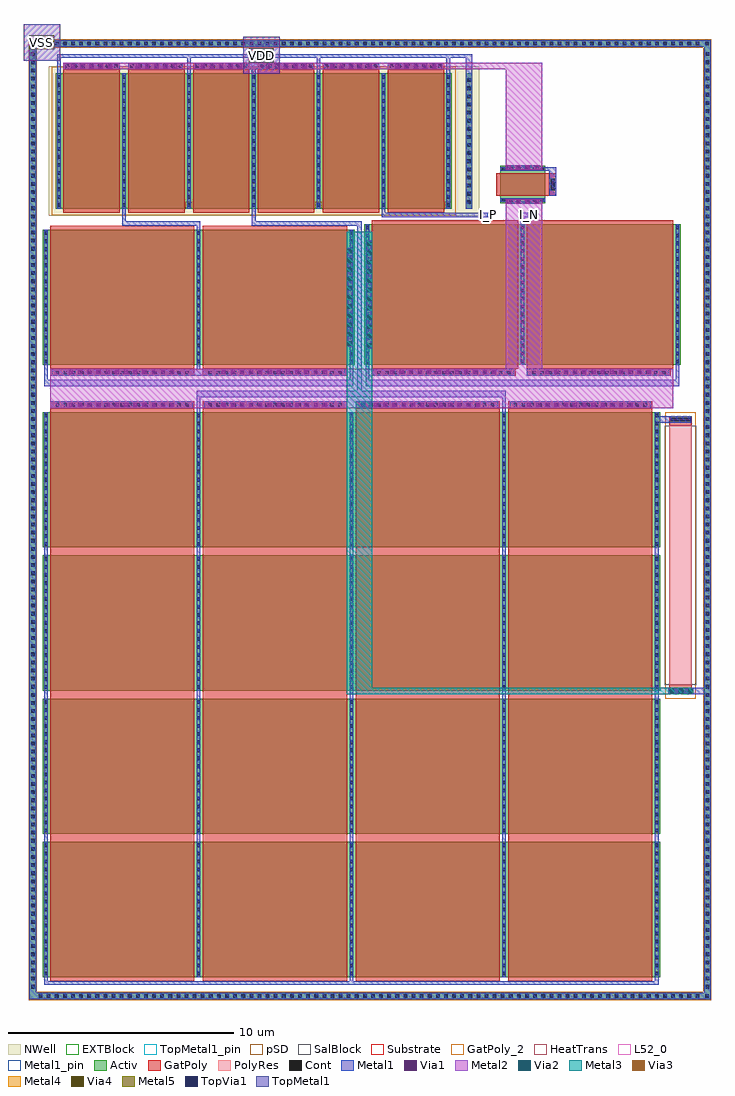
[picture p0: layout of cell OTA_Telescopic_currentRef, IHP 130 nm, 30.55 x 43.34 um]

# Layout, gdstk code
from math import pi, radians
import gdstk
lib = gdstk.Library(unit=1e-6, precision=1e-09)
def R(c, l, rs):  # rectangles x0, y0, x1, y1
    for r in rs: c.add(gdstk.rectangle(r[:2], r[2:], *l))
def A(c, l, x, y, w, h, nx, ny, dx, dy):  # array of equal rectangles
    R(c, l, [(x+i*dx, y+j*dy, x+i*dx+w, y+j*dy+h) for i in range(nx) for j in range(ny)])
Activ = (1, 0)
GatPoly = (5, 0)
GatPoly_2 = (5, 2)
Cont = (6, 0)
Metal1 = (8, 0)
Metal1_pin = (8, 2)
Metal2 = (10, 0)
pSD = (14, 0)
Via1 = (19, 0)
SalBlock = (28, 0)
Via2 = (29, 0)
Metal3 = (30, 0)
NWell = (31, 0)
Substrate = (40, 0)
Via3 = (49, 0)
Metal4 = (50, 0)
HeatTrans = (51, 0)
L52_0 = (52, 0)
Via4 = (66, 0)
Metal5 = (67, 0)
EXTBlock = (111, 0)
TopVia1 = (125, 0)
TopMetal1 = (126, 0)
TopMetal1_pin = (126, 2)
PolyRes = (128, 0)

nmos_2 = lib.new_cell('nmos$2')
A(nmos_2, Activ, 0, 0, 0.3, 0.3, 3, 1, 6.88, 0)
R(nmos_2, Activ, [(0,0,14.06,6.25)])
R(nmos_2, GatPoly, [(0.34,-0.18,6.84,6.43), (7.22,-0.18,13.72,6.43)])
R(nmos_2, GatPoly_2, [(0.34,-0.18,6.84,6.43)])
A(nmos_2, Cont, 0.07, 0.07, 0.16, 0.16, 3, 18, 6.88, 0.35)
A(nmos_2, Metal1, 0.07, 0, 0.16, 6.25, 3, 1, 6.88, 0)
R(nmos_2, Metal1_pin, [(0.07,0,0.23,6.25), (6.95,0,7.11,6.25)])
R(nmos_2, HeatTrans, [(0.34,-0.18,6.84,6.43), (7.22,-0.18,13.72,6.43)])
nmos_2.add(gdstk.Label('nmos', (3.59,3.125), layer=63, texttype=0))
nmos_2.add(gdstk.Label('nmos', (3.59,3.125), layer=51, texttype=0))
nmos_2.add(gdstk.Label('nmos', (10.47,3.125), layer=51, texttype=0))

nmos_6 = lib.new_cell('nmos$6')
A(nmos_6, Activ, 0, 0, 0.3, 0.3, 3, 1, 6.78, 0)
R(nmos_6, Activ, [(0,0,13.86,6)])
R(nmos_6, GatPoly, [(0.34,-0.18,6.74,6.18), (7.12,-0.18,13.52,6.18)])
R(nmos_6, GatPoly_2, [(0.34,-0.18,6.74,6.18)])
A(nmos_6, Cont, 0.07, 0.07, 0.16, 0.16, 3, 4, 6.78, 0.355)
A(nmos_6, Cont, 0.07, 1.495, 0.16, 0.16, 3, 4, 6.78, 0.355)
A(nmos_6, Cont, 0.07, 2.92, 0.16, 0.16, 3, 4, 6.78, 0.355)
A(nmos_6, Cont, 0.07, 4.345, 0.16, 0.16, 3, 4, 6.78, 0.355)
A(nmos_6, Cont, 0.07, 5.77, 0.16, 0.16, 3, 1, 6.78, 0)
A(nmos_6, Metal1, 0.07, 0, 0.16, 6, 3, 1, 6.78, 0)
R(nmos_6, Metal1_pin, [(0.07,0,0.23,6), (6.85,0,7.01,6)])
R(nmos_6, HeatTrans, [(0.34,-0.18,6.74,6.18), (7.12,-0.18,13.52,6.18)])
nmos_6.add(gdstk.Label('nmos', (3.54,3), layer=63, texttype=0))
nmos_6.add(gdstk.Label('nmos', (3.54,3), layer=51, texttype=0))
nmos_6.add(gdstk.Label('nmos', (10.32,3), layer=51, texttype=0))

nmos_1 = lib.new_cell('nmos$1')
R(nmos_1, Activ, [(0,0,0.3,0.3), (0,0,1.68,2), (1.38,0,1.68,0.3)])
R(nmos_1, GatPoly, [(0.34,-0.18,1.34,2.18)])
R(nmos_1, GatPoly_2, [(0.34,-0.18,1.34,2.18)])
A(nmos_1, Cont, 0.07, 0.07, 0.16, 0.16, 1, 6, 0, 0.34)
A(nmos_1, Cont, 1.45, 0.07, 0.16, 0.16, 1, 6, 0, 0.34)
R(nmos_1, Metal1, [(0.07,0,0.23,2), (1.45,0,1.61,2)])
R(nmos_1, Metal1_pin, [(0.07,0,0.23,2), (1.45,0,1.61,2)])
R(nmos_1, HeatTrans, [(0.34,-0.18,1.34,2.18)])
nmos_1.add(gdstk.Label('nmos', (0.84,1), layer=63, texttype=0))
nmos_1.add(gdstk.Label('nmos', (0.84,1), layer=51, texttype=0))

pmos_1_3 = lib.new_cell('pmos$1$3')
A(pmos_1_3, Activ, 0, 0, 0.3, 0.3, 3, 1, 2.88, 0)
R(pmos_1_3, Activ, [(0,0,6.06,6)])
R(pmos_1_3, GatPoly, [(0.34,-0.18,2.84,6.18), (0.34,-0.18,2.84,6.18), (3.22,-0.18,5.72,6.18)])
A(pmos_1_3, Cont, 0.07, 0.07, 0.16, 0.16, 3, 4, 2.88, 0.355)
A(pmos_1_3, Cont, 0.07, 1.495, 0.16, 0.16, 3, 4, 2.88, 0.355)
A(pmos_1_3, Cont, 0.07, 2.92, 0.16, 0.16, 3, 4, 2.88, 0.355)
A(pmos_1_3, Cont, 0.07, 4.345, 0.16, 0.16, 3, 4, 2.88, 0.355)
A(pmos_1_3, Cont, 0.07, 5.77, 0.16, 0.16, 3, 1, 2.88, 0)
R(pmos_1_3, Metal1, [(0.07,0,0.23,6), (0.07,0,0.23,6), (2.95,0,3.11,6), (2.95,0,3.11,6), (5.83,0,5.99,6)])
R(pmos_1_3, pSD, [(-0.18,-0.3,6.24,6.3)])
R(pmos_1_3, NWell, [(-0.31,-0.31,6.37,6.31)])
R(pmos_1_3, Substrate, [(5.76,0,6.06,0.3)])
R(pmos_1_3, HeatTrans, [(0.34,-0.18,2.84,6.18), (3.22,-0.18,5.72,6.18)])
pmos_1_3.add(gdstk.Label('pmos', (1.59,3), layer=63, texttype=0))
pmos_1_3.add(gdstk.Label('pmos', (1.59,3), layer=51, texttype=0))
pmos_1_3.add(gdstk.Label('pmos', (4.47,3), layer=51, texttype=0))

rppd_1 = lib.new_cell('rppd$1')
R(rppd_1, GatPoly, [(0,-0.43,1,-0.2), (0,-0.2,1,0), (0,11.5,1,11.7), (0,11.7,1,11.93)])
R(rppd_1, Cont, [(0.07,-0.36,0.93,-0.2), (0.07,11.7,0.93,11.86)])
R(rppd_1, Metal1, [(0.02,-0.43,0.98,-0.13), (0.02,11.63,0.98,11.93)])
R(rppd_1, Metal1_pin, [(0.02,-0.43,0.98,-0.13), (0.02,11.63,0.98,11.93)])
R(rppd_1, pSD, [(-0.18,-0.61,1.18,0), (-0.18,0,1.18,11.5), (-0.18,11.5,1.18,12.11)])
R(rppd_1, SalBlock, [(-0.2,0,1.2,11.5)])
R(rppd_1, L52_0, [(0,0,1,11.5)])
R(rppd_1, EXTBlock, [(-0.18,-0.61,1.18,0), (-0.2,0,1.2,11.5), (-0.18,11.5,1.18,12.11)])
R(rppd_1, PolyRes, [(0,0,1,11.5)])
rppd_1.add(gdstk.Label('rppd r=3042.167', (0.5,5.75), layer=63, texttype=0))
rppd_1.add(gdstk.Label('rppd', (0.5,5.75), layer=52, texttype=0))

ota_telescopic_currentre = lib.new_cell('OTA_Telescopic_currentRef')
R(ota_telescopic_currentre, Activ, [(10,-4.74,40.22,-4.44), (10,-4.74,10.3,37.85), (39.95,-4.74,40.25,37.85), (29.365,30.37,29.665,36.37), (10,37.55,40.25,37.85)])
R(ota_telescopic_currentre, GatPoly, [(10.92,21.51,17.32,21.81), (10.92,21.51,17.32,21.81), (17.7,21.51,24.1,21.81), (17.7,21.51,24.1,21.81), (24.48,21.51,30.88,21.81), (24.48,21.51,30.88,21.81), (31.26,21.51,37.66,21.81), (31.26,21.51,37.66,21.81), (10.92,22.95,17.32,23.25), (10.92,22.95,17.32,23.25), (17.7,22.95,24.1,23.25), (17.7,22.95,24.1,23.25), (25.2,22.95,31.6,23.25), (25.2,22.95,31.6,23.25), (32.08,22.95,38.48,23.25), (32.08,22.95,38.48,23.25), (33.085,30.94,33.385,31.94), (11.505,36.55,14.005,36.85), (14.385,36.55,16.885,36.85), (14.385,36.55,16.885,36.85), (17.265,36.55,19.765,36.85), (17.265,36.55,19.765,36.85), (20.145,36.55,22.645,36.85), (20.145,36.55,22.645,36.85), (23.025,36.55,25.525,36.85), (23.025,36.55,25.525,36.85), (25.905,36.55,28.405,36.85), (25.905,36.55,28.405,36.85)])
A(ota_telescopic_currentre, Cont, 11.16, 21.58, 0.16, 0.16, 17, 2, 0.36, 1.44)
A(ota_telescopic_currentre, Cont, 17.94, 21.58, 0.16, 0.16, 17, 2, 0.36, 1.44)
A(ota_telescopic_currentre, Cont, 24.72, 21.58, 0.16, 0.16, 17, 1, 0.36, 0)
A(ota_telescopic_currentre, Cont, 31.5, 21.58, 0.16, 0.16, 17, 1, 0.36, 0)
A(ota_telescopic_currentre, Cont, 25.44, 23.02, 0.16, 0.16, 17, 1, 0.36, 0)
A(ota_telescopic_currentre, Cont, 32.32, 23.02, 0.16, 0.16, 17, 1, 0.36, 0)
A(ota_telescopic_currentre, Cont, 29.435, 30.59, 0.16, 0.16, 1, 16, 0, 0.36)
A(ota_telescopic_currentre, Cont, 10.07, 33.905, 0.16, 0.16, 1, 10, 0, 0.36)
A(ota_telescopic_currentre, Cont, 40.02, 33.905, 0.16, 0.16, 1, 10, 0, 0.36)
A(ota_telescopic_currentre, Cont, 11.595, 36.62, 0.16, 0.16, 7, 1, 0.36, 0)
A(ota_telescopic_currentre, Cont, 14.475, 36.62, 0.16, 0.16, 7, 1, 0.36, 0)
A(ota_telescopic_currentre, Cont, 17.355, 36.62, 0.16, 0.16, 7, 1, 0.36, 0)
A(ota_telescopic_currentre, Cont, 20.235, 36.62, 0.16, 0.16, 7, 1, 0.36, 0)
A(ota_telescopic_currentre, Cont, 23.115, 36.62, 0.16, 0.16, 7, 1, 0.36, 0)
A(ota_telescopic_currentre, Cont, 25.995, 36.62, 0.16, 0.16, 7, 1, 0.36, 0)
R(ota_telescopic_currentre, Cont, [(10.41,-4.67,10.57,-4.51), (10.41,-4.67,10.57,-4.51), (10.77,-4.67,10.93,-4.51), (10.77,-4.67,10.93,-4.51), (11.13,-4.67,11.29,-4.51), (11.13,-4.67,11.29,-4.51), (11.49,-4.67,11.65,-4.51), (11.49,-4.67,11.65,-4.51), (11.85,-4.67,12.01,-4.51), (11.85,-4.67,12.01,-4.51), (12.21,-4.67,12.37,-4.51), (12.21,-4.67,12.37,-4.51), (12.57,-4.67,12.73,-4.51), (12.57,-4.67,12.73,-4.51), (12.93,-4.67,13.09,-4.51), (12.93,-4.67,13.09,-4.51), (13.29,-4.67,13.45,-4.51), (13.29,-4.67,13.45,-4.51), (13.65,-4.67,13.81,-4.51), (13.65,-4.67,13.81,-4.51), (14.01,-4.67,14.17,-4.51), (14.01,-4.67,14.17,-4.51), (14.37,-4.67,14.53,-4.51), (14.37,-4.67,14.53,-4.51), (14.73,-4.67,14.89,-4.51), (14.73,-4.67,14.89,-4.51), (15.09,-4.67,15.25,-4.51), (15.09,-4.67,15.25,-4.51), (15.45,-4.67,15.61,-4.51), (15.45,-4.67,15.61,-4.51), (15.81,-4.67,15.97,-4.51), (15.81,-4.67,15.97,-4.51), (16.17,-4.67,16.33,-4.51), (16.17,-4.67,16.33,-4.51), (16.53,-4.67,16.69,-4.51), (16.53,-4.67,16.69,-4.51), (16.89,-4.67,17.05,-4.51), (16.89,-4.67,17.05,-4.51), (17.25,-4.67,17.41,-4.51), (17.25,-4.67,17.41,-4.51), (17.61,-4.67,17.77,-4.51), (17.61,-4.67,17.77,-4.51), (17.97,-4.67,18.13,-4.51), (17.97,-4.67,18.13,-4.51), (18.33,-4.67,18.49,-4.51), (18.33,-4.67,18.49,-4.51), (18.69,-4.67,18.85,-4.51), (18.69,-4.67,18.85,-4.51), (19.05,-4.67,19.21,-4.51), (19.05,-4.67,19.21,-4.51), (19.41,-4.67,19.57,-4.51), (19.41,-4.67,19.57,-4.51), (19.77,-4.67,19.93,-4.51), (19.77,-4.67,19.93,-4.51), (20.13,-4.67,20.29,-4.51), (20.13,-4.67,20.29,-4.51), (20.49,-4.67,20.65,-4.51), (20.49,-4.67,20.65,-4.51), (20.85,-4.67,21.01,-4.51), (20.85,-4.67,21.01,-4.51), (21.21,-4.67,21.37,-4.51), (21.21,-4.67,21.37,-4.51), (21.57,-4.67,21.73,-4.51), (21.57,-4.67,21.73,-4.51), (21.93,-4.67,22.09,-4.51), (21.93,-4.67,22.09,-4.51), (22.29,-4.67,22.45,-4.51), (22.29,-4.67,22.45,-4.51), (22.65,-4.67,22.81,-4.51), (22.65,-4.67,22.81,-4.51), (23.01,-4.67,23.17,-4.51), (23.01,-4.67,23.17,-4.51), (23.37,-4.67,23.53,-4.51), (23.37,-4.67,23.53,-4.51), (23.73,-4.67,23.89,-4.51), (23.73,-4.67,23.89,-4.51), (24.09,-4.67,24.25,-4.51), (24.09,-4.67,24.25,-4.51), (24.45,-4.67,24.61,-4.51), (24.45,-4.67,24.61,-4.51), (24.81,-4.67,24.97,-4.51), (24.81,-4.67,24.97,-4.51), (25.17,-4.67,25.33,-4.51), (25.17,-4.67,25.33,-4.51), (25.53,-4.67,25.69,-4.51), (25.53,-4.67,25.69,-4.51), (25.89,-4.67,26.05,-4.51), (25.89,-4.67,26.05,-4.51), (26.25,-4.67,26.41,-4.51), (26.25,-4.67,26.41,-4.51), (26.61,-4.67,26.77,-4.51), (26.61,-4.67,26.77,-4.51), (26.97,-4.67,27.13,-4.51), (26.97,-4.67,27.13,-4.51), (27.33,-4.67,27.49,-4.51), (27.33,-4.67,27.49,-4.51), (27.69,-4.67,27.85,-4.51), (27.69,-4.67,27.85,-4.51), (28.05,-4.67,28.21,-4.51), (28.05,-4.67,28.21,-4.51), (28.41,-4.67,28.57,-4.51), (28.41,-4.67,28.57,-4.51), (28.77,-4.67,28.93,-4.51), (28.77,-4.67,28.93,-4.51), (29.13,-4.67,29.29,-4.51), (29.13,-4.67,29.29,-4.51), (29.49,-4.67,29.65,-4.51), (29.49,-4.67,29.65,-4.51), (29.85,-4.67,30.01,-4.51), (29.85,-4.67,30.01,-4.51), (30.21,-4.67,30.37,-4.51), (30.21,-4.67,30.37,-4.51), (30.57,-4.67,30.73,-4.51), (30.57,-4.67,30.73,-4.51), (30.93,-4.67,31.09,-4.51), (30.93,-4.67,31.09,-4.51), (31.29,-4.67,31.45,-4.51), (31.29,-4.67,31.45,-4.51), (31.65,-4.67,31.81,-4.51), (31.65,-4.67,31.81,-4.51), (32.01,-4.67,32.17,-4.51), (32.01,-4.67,32.17,-4.51), (32.37,-4.67,32.53,-4.51), (32.37,-4.67,32.53,-4.51), (32.73,-4.67,32.89,-4.51), (32.73,-4.67,32.89,-4.51), (33.09,-4.67,33.25,-4.51), (33.09,-4.67,33.25,-4.51), (33.45,-4.67,33.61,-4.51), (33.45,-4.67,33.61,-4.51), (33.81,-4.67,33.97,-4.51), (33.81,-4.67,33.97,-4.51), (34.17,-4.67,34.33,-4.51), (34.17,-4.67,34.33,-4.51), (34.535,-4.67,34.695,-4.51), (34.535,-4.67,34.695,-4.51), (34.895,-4.67,35.055,-4.51), (34.895,-4.67,35.055,-4.51), (35.255,-4.67,35.415,-4.51), (35.255,-4.67,35.415,-4.51), (35.615,-4.67,35.775,-4.51), (35.615,-4.67,35.775,-4.51), (35.975,-4.67,36.135,-4.51), (35.975,-4.67,36.135,-4.51), (36.335,-4.67,36.495,-4.51), (36.335,-4.67,36.495,-4.51), (36.695,-4.67,36.855,-4.51), (36.695,-4.67,36.855,-4.51), (37.055,-4.67,37.215,-4.51), (37.055,-4.67,37.215,-4.51), (37.415,-4.67,37.575,-4.51), (37.415,-4.67,37.575,-4.51), (37.775,-4.67,37.935,-4.51), (37.775,-4.67,37.935,-4.51), (38.135,-4.67,38.295,-4.51), (38.135,-4.67,38.295,-4.51), (38.495,-4.67,38.655,-4.51), (38.495,-4.67,38.655,-4.51), (38.855,-4.67,39.015,-4.51), (38.855,-4.67,39.015,-4.51), (39.215,-4.67,39.375,-4.51), (39.215,-4.67,39.375,-4.51), (39.575,-4.67,39.735,-4.51), (39.575,-4.67,39.735,-4.51), (40.005,-4.67,40.165,-4.51), (40.005,-4.67,40.165,-4.51), (10.07,-4.26,10.23,-4.1), (10.07,-4.26,10.23,-4.1), (40.02,-4.26,40.18,-4.1), (40.02,-4.26,40.18,-4.1), (10.07,-3.9,10.23,-3.74), (10.07,-3.9,10.23,-3.74), (40.02,-3.9,40.18,-3.74), (40.02,-3.9,40.18,-3.74), (10.07,-3.54,10.23,-3.38), (10.07,-3.54,10.23,-3.38), (40.02,-3.54,40.18,-3.38), (40.02,-3.54,40.18,-3.38), (10.07,-3.18,10.23,-3.02), (10.07,-3.18,10.23,-3.02), (40.02,-3.18,40.18,-3.02), (40.02,-3.18,40.18,-3.02), (10.07,-2.82,10.23,-2.66), (10.07,-2.82,10.23,-2.66), (40.02,-2.82,40.18,-2.66), (40.02,-2.82,40.18,-2.66), (10.07,-2.46,10.23,-2.3), (10.07,-2.46,10.23,-2.3), (40.02,-2.46,40.18,-2.3), (40.02,-2.46,40.18,-2.3), (10.07,-2.1,10.23,-1.94), (10.07,-2.1,10.23,-1.94), (40.02,-2.1,40.18,-1.94), (40.02,-2.1,40.18,-1.94), (10.07,-1.74,10.23,-1.58), (10.07,-1.74,10.23,-1.58), (40.02,-1.74,40.18,-1.58), (40.02,-1.74,40.18,-1.58), (10.07,-1.38,10.23,-1.22), (10.07,-1.38,10.23,-1.22), (40.02,-1.38,40.18,-1.22), (40.02,-1.38,40.18,-1.22), (10.07,-1.02,10.23,-0.86), (10.07,-1.02,10.23,-0.86), (40.02,-1.02,40.18,-0.86), (40.02,-1.02,40.18,-0.86), (10.07,-0.66,10.23,-0.5), (10.07,-0.66,10.23,-0.5), (40.02,-0.66,40.18,-0.5), (40.02,-0.66,40.18,-0.5), (10.07,-0.3,10.23,-0.14), (10.07,-0.3,10.23,-0.14), (40.02,-0.3,40.18,-0.14), (40.02,-0.3,40.18,-0.14), (10.07,0.06,10.23,0.22), (10.07,0.06,10.23,0.22), (40.02,0.06,40.18,0.22), (40.02,0.06,40.18,0.22), (10.07,0.42,10.23,0.58), (10.07,0.42,10.23,0.58), (40.02,0.42,40.18,0.58), (40.02,0.42,40.18,0.58), (10.07,0.78,10.23,0.94), (10.07,0.78,10.23,0.94), (40.02,0.78,40.18,0.94), (40.02,0.78,40.18,0.94), (10.07,1.14,10.23,1.3), (10.07,1.14,10.23,1.3), (40.02,1.14,40.18,1.3), (40.02,1.14,40.18,1.3), (10.07,1.5,10.23,1.66), (10.07,1.5,10.23,1.66), (40.02,1.5,40.18,1.66), (40.02,1.5,40.18,1.66), (10.07,1.86,10.23,2.02), (10.07,1.86,10.23,2.02), (40.02,1.86,40.18,2.02), (40.02,1.86,40.18,2.02), (10.07,2.22,10.23,2.38), (10.07,2.22,10.23,2.38), (40.02,2.22,40.18,2.38), (40.02,2.22,40.18,2.38), (10.07,2.58,10.23,2.74), (10.07,2.58,10.23,2.74), (40.02,2.58,40.18,2.74), (40.02,2.58,40.18,2.74), (10.07,2.94,10.23,3.1), (10.07,2.94,10.23,3.1), (40.02,2.94,40.18,3.1), (40.02,2.94,40.18,3.1), (10.07,3.3,10.23,3.46), (10.07,3.3,10.23,3.46), (40.02,3.3,40.18,3.46), (40.02,3.3,40.18,3.46), (10.07,3.66,10.23,3.82), (10.07,3.66,10.23,3.82), (40.02,3.66,40.18,3.82), (40.02,3.66,40.18,3.82), (10.07,4.02,10.23,4.18), (10.07,4.02,10.23,4.18), (40.02,4.02,40.18,4.18), (40.02,4.02,40.18,4.18), (10.07,4.38,10.23,4.54), (10.07,4.38,10.23,4.54), (40.02,4.38,40.18,4.54), (40.02,4.38,40.18,4.54), (10.07,4.74,10.23,4.9), (10.07,4.74,10.23,4.9), (40.02,4.74,40.18,4.9), (40.02,4.74,40.18,4.9), (10.07,5.1,10.23,5.26), (10.07,5.1,10.23,5.26), (40.02,5.1,40.18,5.26), (40.02,5.1,40.18,5.26), (10.07,5.46,10.23,5.62), (10.07,5.46,10.23,5.62), (40.02,5.46,40.18,5.62), (40.02,5.46,40.18,5.62), (10.07,5.82,10.23,5.98), (10.07,5.82,10.23,5.98), (40.02,5.82,40.18,5.98), (40.02,5.82,40.18,5.98), (10.07,6.18,10.23,6.34), (10.07,6.18,10.23,6.34), (40.02,6.18,40.18,6.34), (40.02,6.18,40.18,6.34), (10.07,6.54,10.23,6.7), (10.07,6.54,10.23,6.7), (40.02,6.54,40.18,6.7), (40.02,6.54,40.18,6.7), (10.07,6.9,10.23,7.06), (10.07,6.9,10.23,7.06), (40.02,6.9,40.18,7.06), (40.02,6.9,40.18,7.06), (10.07,7.26,10.23,7.42), (10.07,7.26,10.23,7.42), (40.02,7.26,40.18,7.42), (40.02,7.26,40.18,7.42), (10.07,7.62,10.23,7.78), (10.07,7.62,10.23,7.78), (40.02,7.62,40.18,7.78), (40.02,7.62,40.18,7.78), (10.07,7.98,10.23,8.14), (10.07,7.98,10.23,8.14), (40.02,7.98,40.18,8.14), (40.02,7.98,40.18,8.14), (10.07,8.34,10.23,8.5), (10.07,8.34,10.23,8.5), (40.02,8.34,40.18,8.5), (40.02,8.34,40.18,8.5), (10.07,8.7,10.23,8.86), (10.07,8.7,10.23,8.86), (40.02,8.7,40.18,8.86), (40.02,8.7,40.18,8.86), (10.07,9.06,10.23,9.22), (10.07,9.06,10.23,9.22), (40.02,9.06,40.18,9.22), (40.02,9.06,40.18,9.22), (10.07,9.42,10.23,9.58), (10.07,9.42,10.23,9.58), (40.02,9.42,40.18,9.58), (40.02,9.42,40.18,9.58), (10.07,9.78,10.23,9.94), (10.07,9.78,10.23,9.94), (40.02,9.78,40.18,9.94), (40.02,9.78,40.18,9.94), (10.07,10.14,10.23,10.3), (10.07,10.14,10.23,10.3), (40.02,10.14,40.18,10.3), (40.02,10.14,40.18,10.3), (10.07,10.5,10.23,10.66), (10.07,10.5,10.23,10.66), (40.02,10.5,40.18,10.66), (40.02,10.5,40.18,10.66), (10.07,10.86,10.23,11.02), (10.07,10.86,10.23,11.02), (40.02,10.86,40.18,11.02), (40.02,10.86,40.18,11.02), (10.07,11.22,10.23,11.38), (10.07,11.22,10.23,11.38), (40.02,11.22,40.18,11.38), (40.02,11.22,40.18,11.38), (10.07,11.58,10.23,11.74), (10.07,11.58,10.23,11.74), (40.02,11.58,40.18,11.74), (40.02,11.58,40.18,11.74), (10.07,11.94,10.23,12.1), (10.07,11.94,10.23,12.1), (40.02,11.94,40.18,12.1), (40.02,11.94,40.18,12.1), (10.07,12.3,10.23,12.46), (10.07,12.3,10.23,12.46), (40.02,12.3,40.18,12.46), (40.02,12.3,40.18,12.46), (10.07,12.66,10.23,12.82), (10.07,12.66,10.23,12.82), (40.02,12.66,40.18,12.82), (40.02,12.66,40.18,12.82), (10.07,13.02,10.23,13.18), (10.07,13.02,10.23,13.18), (40.02,13.02,40.18,13.18), (40.02,13.02,40.18,13.18), (10.07,13.38,10.23,13.54), (10.07,13.38,10.23,13.54), (40.02,13.38,40.18,13.54), (40.02,13.38,40.18,13.54), (10.07,13.74,10.23,13.9), (10.07,13.74,10.23,13.9), (40.02,13.74,40.18,13.9), (40.02,13.74,40.18,13.9), (10.07,14.1,10.23,14.26), (10.07,14.1,10.23,14.26), (40.02,14.1,40.18,14.26), (40.02,14.1,40.18,14.26), (10.07,14.46,10.23,14.62), (10.07,14.46,10.23,14.62), (40.02,14.46,40.18,14.62), (40.02,14.46,40.18,14.62), (10.07,14.82,10.23,14.98), (10.07,14.82,10.23,14.98), (40.02,14.82,40.18,14.98), (40.02,14.82,40.18,14.98), (10.07,15.18,10.23,15.34), (10.07,15.18,10.23,15.34), (40.02,15.18,40.18,15.34), (40.02,15.18,40.18,15.34), (10.07,15.54,10.23,15.7), (10.07,15.54,10.23,15.7), (40.02,15.54,40.18,15.7), (40.02,15.54,40.18,15.7), (10.07,15.9,10.23,16.06), (10.07,15.9,10.23,16.06), (40.02,15.9,40.18,16.06), (40.02,15.9,40.18,16.06), (10.07,16.26,10.23,16.42), (10.07,16.26,10.23,16.42), (40.02,16.26,40.18,16.42), (40.02,16.26,40.18,16.42), (10.07,16.62,10.23,16.78), (10.07,16.62,10.23,16.78), (40.02,16.62,40.18,16.78), (40.02,16.62,40.18,16.78), (10.07,16.98,10.23,17.14), (10.07,16.98,10.23,17.14), (40.02,16.98,40.18,17.14), (40.02,16.98,40.18,17.14), (10.07,17.34,10.23,17.5), (10.07,17.34,10.23,17.5), (40.02,17.34,40.18,17.5), (40.02,17.34,40.18,17.5), (10.07,17.7,10.23,17.86), (10.07,17.7,10.23,17.86), (40.02,17.7,40.18,17.86), (40.02,17.7,40.18,17.86), (10.07,18.06,10.23,18.22), (10.07,18.06,10.23,18.22), (40.02,18.06,40.18,18.22), (40.02,18.06,40.18,18.22), (10.07,18.42,10.23,18.58), (10.07,18.42,10.23,18.58), (40.02,18.42,40.18,18.58), (40.02,18.42,40.18,18.58), (10.07,18.78,10.23,18.94), (10.07,18.78,10.23,18.94), (40.02,18.78,40.18,18.94), (40.02,18.78,40.18,18.94), (10.07,19.14,10.23,19.3), (10.07,19.14,10.23,19.3), (40.02,19.14,40.18,19.3), (40.02,19.14,40.18,19.3), (10.07,19.5,10.23,19.66), (10.07,19.5,10.23,19.66), (40.02,19.5,40.18,19.66), (40.02,19.5,40.18,19.66), (10.07,19.86,10.23,20.02), (10.07,19.86,10.23,20.02), (40.02,19.86,40.18,20.02), (40.02,19.86,40.18,20.02), (10.07,20.225,10.23,20.385), (10.07,20.225,10.23,20.385), (40.02,20.225,40.18,20.385), (40.02,20.225,40.18,20.385), (10.07,20.585,10.23,20.745), (10.07,20.585,10.23,20.745), (40.02,20.585,40.18,20.745), (40.02,20.585,40.18,20.745), (10.07,20.945,10.23,21.105), (10.07,20.945,10.23,21.105), (40.02,20.945,40.18,21.105), (40.02,20.945,40.18,21.105), (10.07,21.305,10.23,21.465), (10.07,21.305,10.23,21.465), (40.02,21.305,40.18,21.465), (40.02,21.305,40.18,21.465), (10.07,21.665,10.23,21.825), (10.07,21.665,10.23,21.825), (40.02,21.665,40.18,21.825), (40.02,21.665,40.18,21.825), (10.07,22.025,10.23,22.185), (10.07,22.025,10.23,22.185), (40.02,22.025,40.18,22.185), (40.02,22.025,40.18,22.185), (10.07,22.385,10.23,22.545), (10.07,22.385,10.23,22.545), (40.02,22.385,40.18,22.545), (40.02,22.385,40.18,22.545), (10.07,22.745,10.23,22.905), (10.07,22.745,10.23,22.905), (40.02,22.745,40.18,22.905), (40.02,22.745,40.18,22.905), (10.07,23.105,10.23,23.265), (10.07,23.105,10.23,23.265), (40.02,23.105,40.18,23.265), (40.02,23.105,40.18,23.265), (10.07,23.465,10.23,23.625), (10.07,23.465,10.23,23.625), (40.02,23.465,40.18,23.625), (40.02,23.465,40.18,23.625), (10.07,23.825,10.23,23.985), (10.07,23.825,10.23,23.985), (40.02,23.825,40.18,23.985), (40.02,23.825,40.18,23.985), (10.07,24.185,10.23,24.345), (10.07,24.185,10.23,24.345), (40.02,24.185,40.18,24.345), (40.02,24.185,40.18,24.345), (10.07,24.545,10.23,24.705), (10.07,24.545,10.23,24.705), (40.02,24.545,40.18,24.705), (40.02,24.545,40.18,24.705), (10.07,24.905,10.23,25.065), (10.07,24.905,10.23,25.065), (40.02,24.905,40.18,25.065), (40.02,24.905,40.18,25.065), (10.07,25.265,10.23,25.425), (10.07,25.265,10.23,25.425), (40.02,25.265,40.18,25.425), (40.02,25.265,40.18,25.425), (10.07,25.625,10.23,25.785), (10.07,25.625,10.23,25.785), (40.02,25.625,40.18,25.785), (40.02,25.625,40.18,25.785), (10.07,25.985,10.23,26.145), (10.07,25.985,10.23,26.145), (40.02,25.985,40.18,26.145), (40.02,25.985,40.18,26.145), (10.07,26.345,10.23,26.505), (10.07,26.345,10.23,26.505), (40.02,26.345,40.18,26.505), (40.02,26.345,40.18,26.505), (10.07,26.705,10.23,26.865), (10.07,26.705,10.23,26.865), (40.02,26.705,40.18,26.865), (40.02,26.705,40.18,26.865), (10.07,27.065,10.23,27.225), (10.07,27.065,10.23,27.225), (40.02,27.065,40.18,27.225), (40.02,27.065,40.18,27.225), (10.07,27.425,10.23,27.585), (10.07,27.425,10.23,27.585), (40.02,27.425,40.18,27.585), (40.02,27.425,40.18,27.585), (10.07,27.785,10.23,27.945), (10.07,27.785,10.23,27.945), (40.02,27.785,40.18,27.945), (40.02,27.785,40.18,27.945), (10.07,28.145,10.23,28.305), (10.07,28.145,10.23,28.305), (40.02,28.145,40.18,28.305), (40.02,28.145,40.18,28.305), (10.07,28.505,10.23,28.665), (10.07,28.505,10.23,28.665), (40.02,28.505,40.18,28.665), (40.02,28.505,40.18,28.665), (10.07,28.865,10.23,29.025), (10.07,28.865,10.23,29.025), (40.02,28.865,40.18,29.025), (40.02,28.865,40.18,29.025), (10.07,29.225,10.23,29.385), (10.07,29.225,10.23,29.385), (40.02,29.225,40.18,29.385), (40.02,29.225,40.18,29.385), (10.07,29.585,10.23,29.745), (10.07,29.585,10.23,29.745), (40.02,29.585,40.18,29.745), (40.02,29.585,40.18,29.745), (10.07,29.945,10.23,30.105), (10.07,29.945,10.23,30.105), (40.02,29.945,40.18,30.105), (40.02,29.945,40.18,30.105), (10.07,30.305,10.23,30.465), (10.07,30.305,10.23,30.465), (40.02,30.305,40.18,30.465), (40.02,30.305,40.18,30.465), (10.07,30.665,10.23,30.825), (10.07,30.665,10.23,30.825), (40.02,30.665,40.18,30.825), (40.02,30.665,40.18,30.825), (10.07,31.025,10.23,31.185), (10.07,31.025,10.23,31.185), (40.02,31.025,40.18,31.185), (40.02,31.025,40.18,31.185), (33.155,31.18,33.315,31.7), (10.07,31.385,10.23,31.545), (10.07,31.385,10.23,31.545), (40.02,31.385,40.18,31.545), (40.02,31.385,40.18,31.545), (10.07,31.745,10.23,31.905), (10.07,31.745,10.23,31.905), (40.02,31.745,40.18,31.905), (40.02,31.745,40.18,31.905), (10.07,32.105,10.23,32.265), (10.07,32.105,10.23,32.265), (40.02,32.105,40.18,32.265), (40.02,32.105,40.18,32.265), (10.07,32.465,10.23,32.625), (10.07,32.465,10.23,32.625), (40.02,32.465,40.18,32.625), (40.02,32.465,40.18,32.625), (10.07,32.825,10.23,32.985), (10.07,32.825,10.23,32.985), (40.02,32.825,40.18,32.985), (40.02,32.825,40.18,32.985), (10.07,33.185,10.23,33.345), (10.07,33.185,10.23,33.345), (40.02,33.185,40.18,33.345), (40.02,33.185,40.18,33.345), (10.07,33.545,10.23,33.705), (10.07,33.545,10.23,33.705), (40.02,33.545,40.18,33.705), (40.02,33.545,40.18,33.705), (10.07,33.905,10.23,34.065), (40.02,33.905,40.18,34.065), (10.41,37.62,10.57,37.78), (10.41,37.62,10.57,37.78), (10.77,37.62,10.93,37.78), (10.77,37.62,10.93,37.78), (11.13,37.62,11.29,37.78), (11.13,37.62,11.29,37.78), (11.49,37.62,11.65,37.78), (11.49,37.62,11.65,37.78), (11.85,37.62,12.01,37.78), (11.85,37.62,12.01,37.78), (12.21,37.62,12.37,37.78), (12.21,37.62,12.37,37.78), (12.57,37.62,12.73,37.78), (12.57,37.62,12.73,37.78), (12.93,37.62,13.09,37.78), (12.93,37.62,13.09,37.78), (13.29,37.62,13.45,37.78), (13.29,37.62,13.45,37.78), (13.65,37.62,13.81,37.78), (13.65,37.62,13.81,37.78), (14.01,37.62,14.17,37.78), (14.01,37.62,14.17,37.78), (14.37,37.62,14.53,37.78), (14.37,37.62,14.53,37.78), (14.73,37.62,14.89,37.78), (14.73,37.62,14.89,37.78), (15.09,37.62,15.25,37.78), (15.09,37.62,15.25,37.78), (15.45,37.62,15.61,37.78), (15.45,37.62,15.61,37.78), (15.81,37.62,15.97,37.78), (15.81,37.62,15.97,37.78), (16.17,37.62,16.33,37.78), (16.17,37.62,16.33,37.78), (16.53,37.62,16.69,37.78), (16.53,37.62,16.69,37.78), (16.89,37.62,17.05,37.78), (16.89,37.62,17.05,37.78), (17.25,37.62,17.41,37.78), (17.25,37.62,17.41,37.78), (17.61,37.62,17.77,37.78), (17.61,37.62,17.77,37.78), (17.97,37.62,18.13,37.78), (17.97,37.62,18.13,37.78), (18.33,37.62,18.49,37.78), (18.33,37.62,18.49,37.78), (18.69,37.62,18.85,37.78), (18.69,37.62,18.85,37.78), (19.05,37.62,19.21,37.78), (19.05,37.62,19.21,37.78), (19.41,37.62,19.57,37.78), (19.41,37.62,19.57,37.78), (19.77,37.62,19.93,37.78), (19.77,37.62,19.93,37.78), (20.13,37.62,20.29,37.78), (20.13,37.62,20.29,37.78), (20.49,37.62,20.65,37.78), (20.49,37.62,20.65,37.78), (20.85,37.62,21.01,37.78), (20.85,37.62,21.01,37.78), (21.21,37.62,21.37,37.78), (21.21,37.62,21.37,37.78), (21.57,37.62,21.73,37.78), (21.57,37.62,21.73,37.78), (21.93,37.62,22.09,37.78), (21.93,37.62,22.09,37.78), (22.29,37.62,22.45,37.78), (22.29,37.62,22.45,37.78), (22.65,37.62,22.81,37.78), (22.65,37.62,22.81,37.78), (23.01,37.62,23.17,37.78), (23.01,37.62,23.17,37.78), (23.37,37.62,23.53,37.78), (23.37,37.62,23.53,37.78), (23.73,37.62,23.89,37.78), (23.73,37.62,23.89,37.78), (24.09,37.62,24.25,37.78), (24.09,37.62,24.25,37.78), (24.45,37.62,24.61,37.78), (24.45,37.62,24.61,37.78), (24.81,37.62,24.97,37.78), (24.81,37.62,24.97,37.78), (25.17,37.62,25.33,37.78), (25.17,37.62,25.33,37.78), (25.53,37.62,25.69,37.78), (25.53,37.62,25.69,37.78), (25.89,37.62,26.05,37.78), (25.89,37.62,26.05,37.78), (26.25,37.62,26.41,37.78), (26.25,37.62,26.41,37.78), (26.61,37.62,26.77,37.78), (26.61,37.62,26.77,37.78), (26.97,37.62,27.13,37.78), (26.97,37.62,27.13,37.78), (27.33,37.62,27.49,37.78), (27.33,37.62,27.49,37.78), (27.69,37.62,27.85,37.78), (27.69,37.62,27.85,37.78), (28.05,37.62,28.21,37.78), (28.05,37.62,28.21,37.78), (28.41,37.62,28.57,37.78), (28.41,37.62,28.57,37.78), (28.77,37.62,28.93,37.78), (28.77,37.62,28.93,37.78), (29.13,37.62,29.29,37.78), (29.13,37.62,29.29,37.78), (29.49,37.62,29.65,37.78), (29.49,37.62,29.65,37.78), (29.85,37.62,30.01,37.78), (29.85,37.62,30.01,37.78), (30.21,37.62,30.37,37.78), (30.21,37.62,30.37,37.78), (30.57,37.62,30.73,37.78), (30.57,37.62,30.73,37.78), (30.93,37.62,31.09,37.78), (30.93,37.62,31.09,37.78), (31.29,37.62,31.45,37.78), (31.29,37.62,31.45,37.78), (31.65,37.62,31.81,37.78), (31.65,37.62,31.81,37.78), (32.01,37.62,32.17,37.78), (32.01,37.62,32.17,37.78), (32.37,37.62,32.53,37.78), (32.37,37.62,32.53,37.78), (32.73,37.62,32.89,37.78), (32.73,37.62,32.89,37.78), (33.09,37.62,33.25,37.78), (33.09,37.62,33.25,37.78), (33.45,37.62,33.61,37.78), (33.45,37.62,33.61,37.78), (33.81,37.62,33.97,37.78), (33.81,37.62,33.97,37.78), (34.17,37.62,34.33,37.78), (34.17,37.62,34.33,37.78), (34.535,37.62,34.695,37.78), (34.535,37.62,34.695,37.78), (34.895,37.62,35.055,37.78), (34.895,37.62,35.055,37.78), (35.255,37.62,35.415,37.78), (35.255,37.62,35.415,37.78), (35.615,37.62,35.775,37.78), (35.615,37.62,35.775,37.78), (35.975,37.62,36.135,37.78), (35.975,37.62,36.135,37.78), (36.335,37.62,36.495,37.78), (36.335,37.62,36.495,37.78), (36.695,37.62,36.855,37.78), (36.695,37.62,36.855,37.78), (37.055,37.62,37.215,37.78), (37.055,37.62,37.215,37.78), (37.415,37.62,37.575,37.78), (37.415,37.62,37.575,37.78), (37.775,37.62,37.935,37.78), (37.775,37.62,37.935,37.78), (38.135,37.62,38.295,37.78), (38.135,37.62,38.295,37.78), (38.495,37.62,38.655,37.78), (38.495,37.62,38.655,37.78), (38.855,37.62,39.015,37.78), (38.855,37.62,39.015,37.78), (39.215,37.62,39.375,37.78), (39.215,37.62,39.375,37.78), (39.575,37.62,39.735,37.78), (39.575,37.62,39.735,37.78), (40.005,37.62,40.165,37.78), (40.005,37.62,40.165,37.78)])
A(ota_telescopic_currentre, Metal1, 10.65, -3.93, 0.16, 0.18, 3, 1, 13.56, 0)
A(ota_telescopic_currentre, Metal1, 10.65, -3.75, 0.16, 25.08, 5, 1, 6.78, 0)
A(ota_telescopic_currentre, Metal1, 11.685, 21.555, 4.8, 0.21, 4, 1, 6.78, 0)
A(ota_telescopic_currentre, Metal1, 11.235, 36.37, 0.16, 0.7, 4, 1, 5.76, 0)
A(ota_telescopic_currentre, Metal1, 11.79, 36.595, 1.93, 0.21, 6, 1, 2.88, 0)
R(ota_telescopic_currentre, Metal1, [(10,-4.74,40.25,-4.44), (10,-4.44,10.3,37.85), (39.95,-4.44,40.25,37.85), (10.65,-4.09,10.81,-3.93), (10.81,-4.09,37.77,-3.93), (37.77,-4.09,37.93,-3.93), (39.38,8.795,39.95,9.095), (38.37,8.84,39.48,9.05), (37.93,20.855,38.42,21.155), (17.43,21.33,17.59,21.99), (30.99,21.33,31.15,21.99), (10.92,21.51,17.25,21.81), (17.77,21.51,24.1,21.81), (24.48,21.51,30.81,21.81), (31.33,21.51,37.59,21.81), (17.43,21.99,31.15,22.29), (17.43,21.99,31.15,22.29), (24.55,22.29,24.75,29.81), (10.65,22.47,24.37,22.77), (24.93,22.47,38.85,22.77), (10.65,22.77,10.81,23.43), (24.21,22.77,24.37,23.43), (24.93,22.77,25.09,23.43), (38.69,22.77,38.85,23.43), (10.99,22.95,17.25,23.25), (17.25,22.95,17.43,23.25), (17.43,22.95,17.59,23.43), (17.77,22.95,24.03,23.25), (25.27,22.95,31.53,23.25), (32.08,22.95,38.41,23.25), (17.59,22.955,17.77,23.25), (11.685,22.995,16.485,23.205), (18.465,22.995,23.265,23.205), (25.965,22.995,30.765,23.205), (32.845,22.995,37.645,23.205), (24.97,24.155,25.18,28.955), (24.12,24.235,24.33,28.625), (17.43,29.43,17.59,29.61), (14.115,29.61,17.59,29.81), (19.875,29.61,24.55,29.81), (31.81,29.68,31.97,30.19), (14.115,29.81,14.275,30.37), (19.875,29.81,20.035,30.19), (25.635,29.99,30.565,30.19), (31.97,29.99,32.355,30.19), (19.875,30.19,20.035,30.37), (25.635,30.19,25.795,30.37), (29.365,30.37,29.665,37.23), (31.145,30.58,32.665,30.79), (33.085,30.94,33.385,31.94), (33.085,31.94,33.385,32.05), (32.905,32.05,33.385,32.21), (31.145,32.09,32.665,32.3), (16.995,36.37,17.155,37.03), (19.875,36.37,20.035,36.55), (11.575,36.55,14.005,36.85), (14.385,36.55,16.815,36.85), (17.335,36.55,19.765,36.85), (19.765,36.55,20.145,36.85), (20.145,36.55,22.575,36.85), (23.095,36.55,25.525,36.85), (25.905,36.55,28.335,36.85), (11.235,37.07,29.365,37.23), (19.745,37.07,20.855,37.28), (10,37.55,40.25,37.85), (10,37.64,11.11,37.85)])
R(ota_telescopic_currentre, Metal1_pin, [(30.325,30.015,30.485,30.175), (32.15,30.015,32.31,30.175)])
A(ota_telescopic_currentre, Metal2, 11.685, 21.56, 4.8, 0.2, 4, 1, 6.78, 0)
A(ota_telescopic_currentre, Metal2, 11.79, 36.6, 1.93, 0.2, 6, 1, 2.88, 0)
R(ota_telescopic_currentre, Metal2, [(38.4,8.795,39.4,9.095), (38.37,8.845,39.48,9.045), (10.92,21.51,38.58,23.25), (11.685,23,16.485,23.2), (18.465,23,23.265,23.2), (25.965,23,30.765,23.2), (32.845,23,37.645,23.2), (31.145,23.25,32.77,30.785), (24.975,24.155,25.175,28.955), (24.125,24.235,24.325,28.625), (31.145,30.585,32.665,30.785), (31.145,32.09,32.77,36.85), (31.145,32.095,32.665,32.295), (11.505,36.55,28.405,36.85), (11.505,36.55,32.77,36.85), (19.745,37.075,20.855,37.275), (10,37.645,11.11,37.845)])
R(ota_telescopic_currentre, pSD, [(9.97,-4.77,39.92,-4.41), (9.97,-4.77,10.33,37.88), (39.92,-4.77,40.28,37.88), (9.97,37.52,39.92,37.88)])
A(ota_telescopic_currentre, Via1, 38.42, 8.85, 0.19, 0.19, 3, 1, 0.41, 0)
A(ota_telescopic_currentre, Via1, 11.735, 21.565, 0.19, 0.19, 12, 2, 0.41, 1.44)
A(ota_telescopic_currentre, Via1, 18.515, 21.565, 0.19, 0.19, 12, 2, 0.41, 1.44)
A(ota_telescopic_currentre, Via1, 25.295, 21.565, 0.19, 0.19, 12, 1, 0.41, 0)
A(ota_telescopic_currentre, Via1, 32.075, 21.565, 0.19, 0.19, 12, 1, 0.41, 0)
A(ota_telescopic_currentre, Via1, 26.015, 23.005, 0.19, 0.19, 12, 1, 0.41, 0)
A(ota_telescopic_currentre, Via1, 32.895, 23.005, 0.19, 0.19, 12, 1, 0.41, 0)
A(ota_telescopic_currentre, Via1, 24.98, 24.205, 0.19, 0.19, 1, 12, 0, 0.41)
A(ota_telescopic_currentre, Via1, 24.13, 24.285, 0.19, 0.19, 1, 11, 0, 0.41)
A(ota_telescopic_currentre, Via1, 31.195, 30.59, 0.19, 0.19, 4, 2, 0.41, 1.51)
A(ota_telescopic_currentre, Via1, 11.84, 36.605, 0.19, 0.19, 5, 1, 0.41, 0)
A(ota_telescopic_currentre, Via1, 14.72, 36.605, 0.19, 0.19, 5, 1, 0.41, 0)
A(ota_telescopic_currentre, Via1, 17.6, 36.605, 0.19, 0.19, 5, 1, 0.41, 0)
A(ota_telescopic_currentre, Via1, 20.48, 36.605, 0.19, 0.19, 5, 1, 0.41, 0)
A(ota_telescopic_currentre, Via1, 23.36, 36.605, 0.19, 0.19, 5, 1, 0.41, 0)
A(ota_telescopic_currentre, Via1, 26.24, 36.605, 0.19, 0.19, 5, 1, 0.41, 0)
A(ota_telescopic_currentre, Via1, 19.795, 37.08, 0.19, 0.19, 3, 1, 0.41, 0)
A(ota_telescopic_currentre, Via1, 10.05, 37.65, 0.19, 0.19, 3, 1, 0.41, 0)
A(ota_telescopic_currentre, Via2, 38.42, 8.85, 0.19, 0.19, 3, 1, 0.41, 0)
A(ota_telescopic_currentre, Via2, 24.98, 24.205, 0.19, 0.19, 1, 12, 0, 0.41)
A(ota_telescopic_currentre, Via2, 24.13, 24.285, 0.19, 0.19, 1, 11, 0, 0.41)
A(ota_telescopic_currentre, Via2, 19.795, 37.08, 0.19, 0.19, 3, 1, 0.41, 0)
A(ota_telescopic_currentre, Via2, 10.05, 37.65, 0.19, 0.19, 3, 1, 0.41, 0)
R(ota_telescopic_currentre, Metal3, [(24.08,8.795,25.22,23.77), (24.7,8.795,39.38,9.095), (38.37,8.845,39.48,9.045), (24.08,23.77,25.22,29.34), (24.975,24.155,25.175,28.955), (24.125,24.235,24.325,28.625), (19.745,37.075,20.855,37.275), (10,37.645,11.11,37.845)])
R(ota_telescopic_currentre, NWell, [(29.055,30.06,29.975,36.68)])
A(ota_telescopic_currentre, Via3, 19.795, 37.08, 0.19, 0.19, 3, 1, 0.41, 0)
A(ota_telescopic_currentre, Via3, 10.05, 37.65, 0.19, 0.19, 3, 1, 0.41, 0)
R(ota_telescopic_currentre, Metal4, [(19.745,37.075,20.855,37.275), (10,37.645,11.11,37.845)])
A(ota_telescopic_currentre, Via4, 19.795, 37.08, 0.19, 0.19, 3, 1, 0.41, 0)
A(ota_telescopic_currentre, Via4, 10.05, 37.65, 0.19, 0.19, 3, 1, 0.41, 0)
R(ota_telescopic_currentre, Metal5, [(19.745,36.865,20.855,37.485), (10,37.435,11.11,38.055)])
R(ota_telescopic_currentre, TopVia1, [(20.09,36.965,20.51,37.385), (10.345,37.535,10.765,37.955)])
R(ota_telescopic_currentre, TopMetal1, [(19.48,36.355,21.12,37.995), (9.735,36.925,11.375,38.565)])
R(ota_telescopic_currentre, TopMetal1_pin, [(19.48,36.355,21.12,37.995), (9.735,36.925,11.375,38.565)])
ota_telescopic_currentre.add(gdstk.Reference(nmos_2, (24.86,23.43)))
r = gdstk.Reference(nmos_6, (10.58,-3.75)); r.repetition = gdstk.Repetition(2, 4, v1=(13.56,0), v2=(0,6.36)); ota_telescopic_currentre.add(r)
ota_telescopic_currentre.add(gdstk.Reference(nmos_6, (10.58,23.43)))
ota_telescopic_currentre.add(gdstk.Reference(nmos_1, (32.905,30.6), rotation=pi/2))
r = gdstk.Reference(pmos_1_3, (11.165,30.37)); r.repetition = gdstk.Repetition(3, 1, v1=(5.76,0), v2=(0,0)); ota_telescopic_currentre.add(r)
ota_telescopic_currentre.add(gdstk.Reference(rppd_1, (38.4,9.225)))
ota_telescopic_currentre.add(gdstk.Label('VDD', (20.297,37.177), layer=126, texttype=25))
ota_telescopic_currentre.add(gdstk.Label('VSS', (10.555,37.745), layer=126, texttype=25))
ota_telescopic_currentre.add(gdstk.Label('I_P', (30.375,30.1), layer=8, texttype=25))
ota_telescopic_currentre.add(gdstk.Label('I_N', (32.2,30.1), layer=8, texttype=25))

lib.write_gds('OTA_Telescopic_currentRef.gds')
